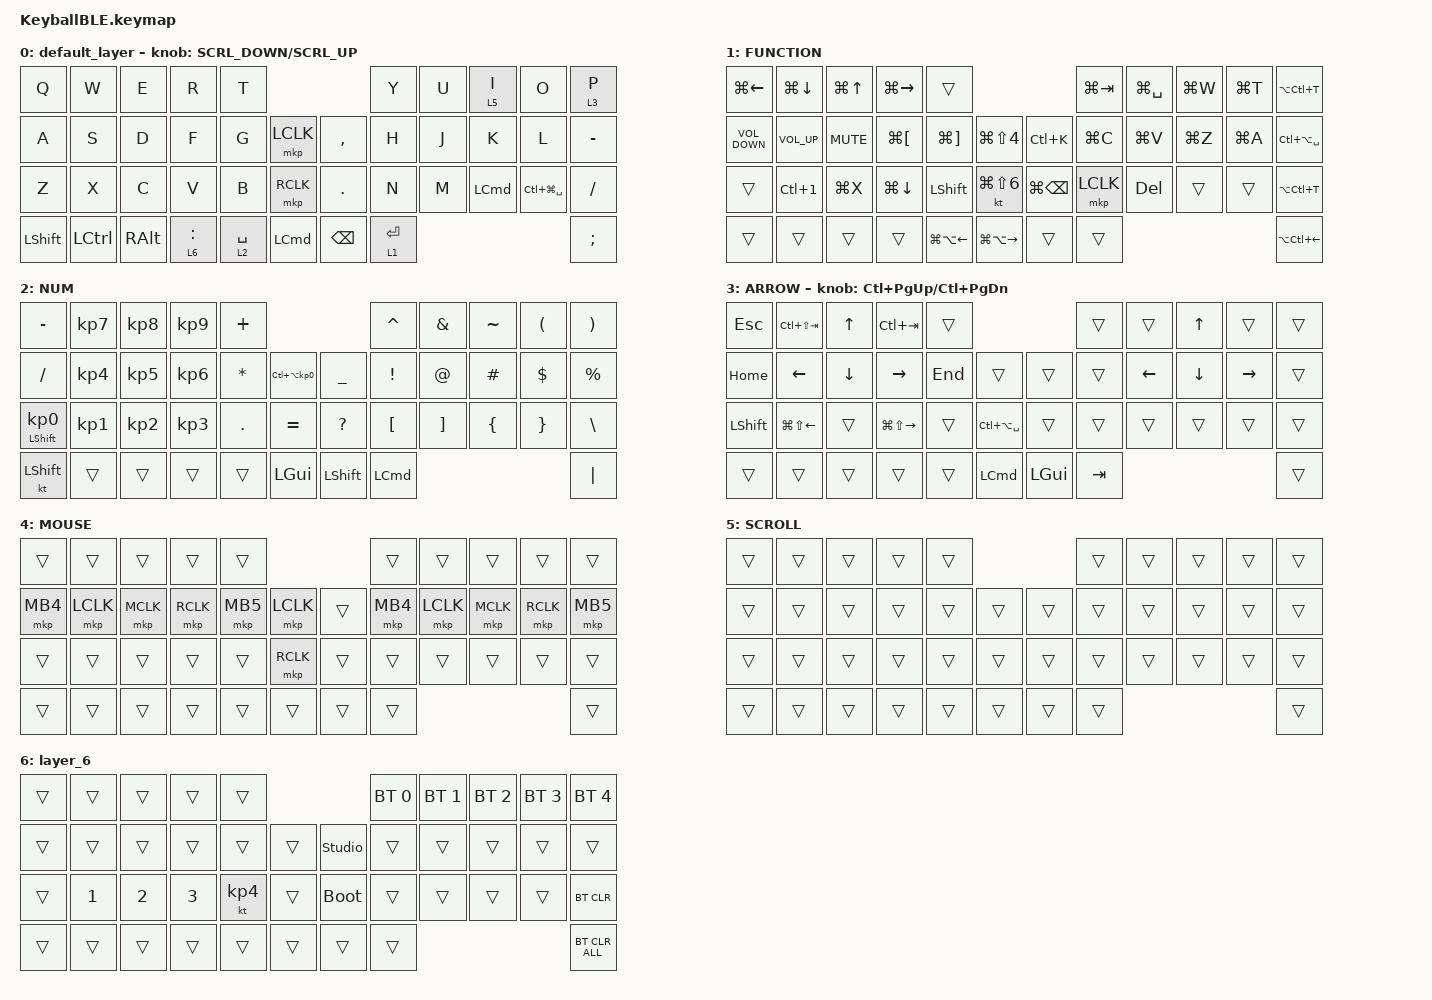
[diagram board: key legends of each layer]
#define ZMK_POINTING_DEFAULT_SCRL_VAL 120    // default: 10

#include <behaviors.dtsi>
#include <dt-bindings/zmk/bt.h>
#include <dt-bindings/zmk/keys.h>
#include <dt-bindings/zmk/pointing.h>

#define MOUSE 4
#define SCROLL 5
#define NUM 6

&mt {
    flavor = "balanced";
    quick-tap-ms = <0>;
};

/ {
    combos {
        compatible = "zmk,combos";

        double_quotation {
            bindings = <&kp DOUBLE_QUOTES>;
            key-positions = <20 21>;
        };
    };

    macros {
        to_layer_0: to_layer_0 {
            compatible = "zmk,behavior-macro-one-param";
            #binding-cells = <1>;
            bindings = <&to 0 &macro_param_1to1 &kp MACRO_PLACEHOLDER>;
            label = "TO_LAYER_0";
        };
    };

    behaviors {
        lt_to_layer_0: lt_to_layer_0 {
            compatible = "zmk,behavior-hold-tap";
            label = "LAYER_TAP_TO_0";
            bindings = <&mo>, <&to_layer_0>;

            #binding-cells = <2>;
            tapping-term-ms = <200>;
        };

        ROTATE: ROTATE {
            compatible = "zmk,behavior-sensor-rotate-var";
            label = "ROTATE";
            #sensor-binding-cells = <2>;
            bindings = <&msc>, <&msc>;

            tap-ms = <20>;
        };
    };

    keymap {
        compatible = "zmk,keymap";

        default_layer {
            bindings = <
&kp Q           &kp W             &kp E          &kp R                   &kp T                                             &kp Y        &kp U  &lt 5 I           &kp O              &lt_to_layer_0 3 P
&kp A           &kp S             &kp D          &kp F                   &kp G        &mkp LCLK             &kp COMMA      &kp H        &kp J  &kp K             &kp L              &kp MINUS
&kp Z           &kp X             &kp C          &kp V                   &kp B        &mkp RCLK             &kp PERIOD     &kp N        &kp M  &kp LEFT_COMMAND  &kp LC(LG(SPACE))  &kp SLASH
&kp LEFT_SHIFT  &kp LEFT_CONTROL  &kp RIGHT_ALT  &lt_to_layer_0 6 COLON  &lt 2 SPACE  &kp LEFT_COMMAND      &kp BACKSPACE  &lt 1 ENTER                                              &kp SEMICOLON
            >;

            sensor-bindings = <&ROTATE SCRL_DOWN SCRL_UP>;
        };

        FUNCTION {
            bindings = <
&kp LG(LEFT_ARROW)  &kp LG(DOWN)      &kp LG(UP)  &kp LG(RIGHT_ARROW)   &trans                                                              &kp LG(TAB)  &kp LG(SPACE)  &kp LG(W)  &kp LG(T)  &kp LA(LC(T))
&kp C_VOLUME_DOWN   &kp C_VOLUME_UP   &kp K_MUTE  &kp LG(LEFT_BRACKET)  &kp LG(RIGHT_BRACKET)  &kp LG(LS(NUMBER_4))      &kp LC(K)          &kp LG(C)    &kp LG(V)      &kp LG(Z)  &kp LG(A)  &kp LC(LA(SPACE))
&trans              &kp LC(NUMBER_1)  &kp LG(X)   &kp LG(DOWN_ARROW)    &kp LEFT_SHIFT         &kt LG(LS(NUMBER_6))      &kp LG(BACKSPACE)  &mkp LCLK    &kp DELETE     &trans     &trans     &kp LA(LC(T))
&trans              &trans            &trans      &trans                &kp LG(LA(LEFT))       &kp LG(LA(RIGHT))         &trans             &trans                                            &kp LA(LC(LEFT_ARROW))
            >;
        };

        NUM {
            bindings = <
&kp MINUS                   &kp KP_NUMBER_7  &kp KP_NUMBER_8  &kp KP_NUMBER_9  &kp PLUS                                                   &kp CARET         &kp AMPERSAND      &kp TILDE       &kp LEFT_PARENTHESIS  &kp RIGHT_PARENTHESIS
&kp SLASH                   &kp KP_NUMBER_4  &kp KP_NUMBER_5  &kp KP_NUMBER_6  &kp ASTERISK  &kp LC(LA(KP_NUMBER_0))      &kp UNDERSCORE  &kp EXCLAMATION   &kp AT_SIGN        &kp HASH        &kp DOLLAR            &kp PERCENT
&mt LEFT_SHIFT KP_NUMBER_0  &kp KP_NUMBER_1  &kp KP_NUMBER_2  &kp KP_NUMBER_3  &kp PERIOD    &kp EQUAL                    &kp QUESTION    &kp LEFT_BRACKET  &kp RIGHT_BRACKET  &kp LEFT_BRACE  &kp RIGHT_BRACE       &kp BACKSLASH
&kt LEFT_SHIFT              &trans           &trans           &trans           &trans        &kp LEFT_GUI                 &kp LEFT_SHIFT  &kp LEFT_COMMAND                                                           &kp PIPE
            >;
        };

        ARROW {
            bindings = <
&kp ESCAPE      &kp LC(LS(TAB))         &kp UP_ARROW    &kp LC(TAB)              &trans                                        &trans   &trans    &kp UP_ARROW    &trans     &trans
&kp HOME        &kp LEFT_ARROW          &kp DOWN_ARROW  &kp RIGHT_ARROW          &kp END  &trans                 &trans        &trans   &kp LEFT  &kp DOWN_ARROW  &kp RIGHT  &trans
&kp LEFT_SHIFT  &kp LG(LS(LEFT_ARROW))  &trans          &kp LG(LS(RIGHT_ARROW))  &trans   &kp LC(LA(SPACE))      &trans        &trans   &trans    &trans          &trans     &trans
&trans          &trans                  &trans          &trans                   &trans   &kp LEFT_COMMAND       &kp LEFT_GUI  &kp TAB                                       &trans
            >;

            sensor-bindings = <&inc_dec_kp LC(PAGE_UP) LC(PAGE_DOWN)>;
        };

        MOUSE {
            bindings = <
&trans    &trans     &trans     &trans     &trans                           &trans    &trans     &trans     &trans     &trans
&mkp MB4  &mkp LCLK  &mkp MCLK  &mkp RCLK  &mkp MB5  &mkp LCLK      &trans  &mkp MB4  &mkp LCLK  &mkp MCLK  &mkp RCLK  &mkp MB5
&trans    &trans     &trans     &trans     &trans    &mkp RCLK      &trans  &trans    &trans     &trans     &trans     &trans
&trans    &trans     &trans     &trans     &trans    &trans         &trans  &trans                                     &trans
            >;
        };

        SCROLL {
            bindings = <
&trans  &trans  &trans  &trans  &trans                      &trans  &trans  &trans  &trans  &trans
&trans  &trans  &trans  &trans  &trans  &trans      &trans  &trans  &trans  &trans  &trans  &trans
&trans  &trans  &trans  &trans  &trans  &trans      &trans  &trans  &trans  &trans  &trans  &trans
&trans  &trans  &trans  &trans  &trans  &trans      &trans  &trans                          &trans
            >;
        };

        layer_6 {
            bindings = <
&trans  &trans        &trans        &trans        &trans                                 &bt BT_SEL 0  &bt BT_SEL 1  &bt BT_SEL 2  &bt BT_SEL 3  &bt BT_SEL 4
&trans  &trans        &trans        &trans        &trans     &trans      &studio_unlock  &trans        &trans        &trans        &trans        &trans
&trans  &kp NUMBER_1  &kp NUMBER_2  &kp NUMBER_3  &kt KP_N4  &trans      &bootloader     &trans        &trans        &trans        &trans        &bt BT_CLR
&trans  &trans        &trans        &trans        &trans     &trans      &trans          &trans                                                  &bt BT_CLR_ALL
            >;
        };
    };
};
